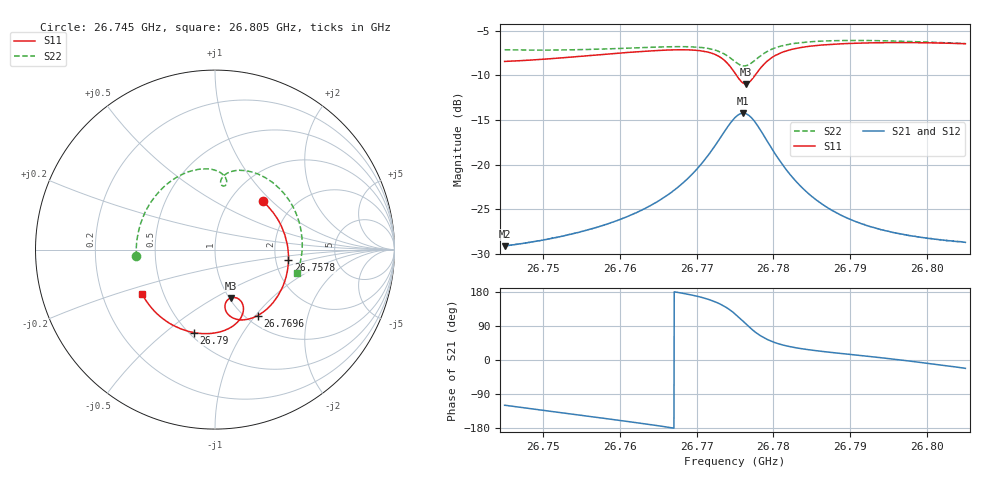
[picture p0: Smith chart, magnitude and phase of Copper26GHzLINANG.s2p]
!Agilent Technologies,N5245A,MY49151052,A.09.90.19
!Agilent N5245A: A.09.90.19
!Date: Monday, December 16, 2019 12:52:07
!Correction: S11(Off)
!S21(Off)
!S12(Off)
!S22(Off)
!S2P File: Measurements: S11, S21, S12, S22:
# Hz S  MA  R 50
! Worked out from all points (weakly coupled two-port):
!   1601 points, 26.745 GHz to 26.805 GHz, reference 50 ohm
!   highest |S21| = -14.24 dB at 26.7761 GHz (marker M1); lowest = -29.2 dB at 26.745 GHz (marker M2)
!   lowest |S11| = -11.0 dB at 26.7764 GHz (marker M3), VSWR 1.79, Z = 51 - j29.8 ohm
!   |S11| at or under -10 dB: 26.77519 GHz to 26.77761 GHz (2.423 MHz wide, 0.00905 % of centre)
!   |S22| runs from -9.0 to -6.1 dB; largest |S21 - S12| = 0.39
!   S11 on the Smith chart (normalised r, x): 26.745 GHz: 1.40, +0.88; 26.7578 GHz: 2.35, -0.34; 26.7696 GHz: 1.13, -1.03; 26.79 GHz: 0.53, -0.63; 26.805 GHz: 0.38, -0.25
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2.6745e10  0.3783 45.3  0.03487 -119.4  0.03465 70.9  0.44 -175.0
2.675036e10  0.3902 22.6  0.03798 -133.7  0.03793 56.0  0.438 168.4
2.675501e10  0.4045 3.1  0.04207 -146.1  0.04225 43.2  0.4406 153.6
2.675775e10  0.4137 -8.2  0.0455 -153.4  0.04576 35.5  0.4438 144.5
2.676128e10  0.4253 -22.6  0.05172 -162.9  0.05209 25.6  0.4493 132.4
2.676502e10  0.4358 -37.8  0.06247 -173.6  0.06272 14.7  0.4554 118.8
2.676742e10  0.4396 -47.7  0.07377 178.8  0.07402 7.0  0.4578 109.6
2.67696e10  0.4378 -57.2  0.08999 170.4  0.09013 -1.6  0.4563 100.7
2.677268e10  0.4088 -72.2  0.1328 151.4  0.1329 -20.8  0.4342 87.1
2.677388e10  0.3747 -77.9  0.1587 138.5  0.1588 -33.6  0.4099 82.2
2.6775e10  0.325 -80.2  0.1831 121.8  0.1832 -50.3  0.3776 80.0
2.677605e10  0.2863 -74.8  0.194 102.4  0.194 -69.8  0.3572 82.0
2.677639e10  0.2833 -71.6  0.193 95.8  0.1929 -76.3  0.3575 83.2
2.677778e10  0.3234 -63.2  0.1694 71.5  0.1694 -100.5  0.3894 85.1
2.677928e10  0.3823 -65.9  0.1334 53.5  0.1341 -118.6  0.4323 80.7
2.678205e10  0.4383 -77.1  0.08923 35.7  0.09017 -136.7  0.4723 68.6
2.678501e10  0.4616 -88.2  0.06618 26.0  0.06707 -146.7  0.4882 56.0
2.678738e10  0.4709 -96.2  0.05622 20.4  0.05704 -152.7  0.4937 46.5
2.678996e10  0.4773 -104.5  0.04933 14.8  0.05003 -158.7  0.4957 36.6
2.679502e10  0.482 -119.7  0.04217 3.5  0.04249 -170.7  0.4932 17.9
2.679982e10  0.4812 -133.6  0.03873 -8.0  0.03855 177.2  0.4859 1.2
2.6805e10  0.4755 -148.3  0.03662 -22.1  0.03606 163.6  0.4764 -16.1
